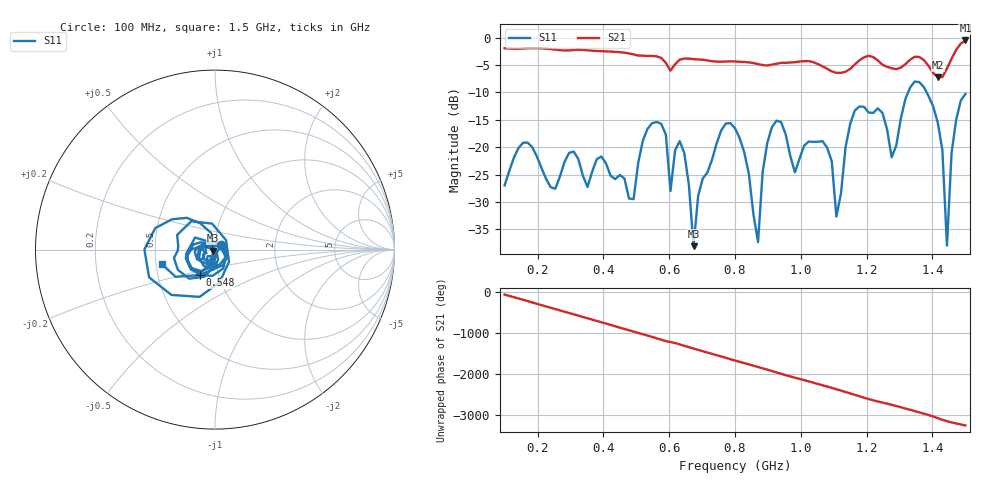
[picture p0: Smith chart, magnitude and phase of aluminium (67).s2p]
! NanoVNA-App
! Date: 2025-09-26 09:58:35
! Start: 100MHz Stop: 1,5GHz Points: 101
! S-Parameter data: F S11 S21 S12 S22
# Hz S RI R 50
!  Frequency  S11_Real  S11_Imag  S21_Real  S21_Imag  S12_Real  S12_Imag  S22_Real  S22_Imag
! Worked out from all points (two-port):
!   101 points, 100 MHz to 1.5 GHz, reference 50 ohm
!   highest |S21| = -0.49 dB at 1.5 GHz (marker M1); lowest = -7.2 dB at 1.416 GHz (marker M2)
!   |S21| within 3 dB of the highest: start of sweep to 566.6 MHz; 1.461 GHz to end of sweep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
!   lowest |S11| = -38.1 dB at 674 MHz (marker M3), VSWR 1.03, Z = 48.9 - j0.548 ohm
!   |S11| at or under -10 dB: start of sweep to 1.326 GHz; 1.382 GHz to end of sweep
!   S12 and S22 are empty: the file has one direction only
!   S11 on the Smith chart (normalised r, x): 100 MHz: 1.07, +0.06; 548 MHz: 0.81, -0.24; 1.5 GHz: 0.54, -0.10
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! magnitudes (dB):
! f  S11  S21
! 100 MHz  -27.0  -1.9
! 156 MHz  -19.2  -2.0
! 338 MHz  -25.3  -2.2
! 492 MHz  -29.5  -3.0
! 548 MHz  -15.6  -3.3
! 576 MHz  -15.7  -3.7
! 604 MHz  -28.0  -6.0
! 646 MHz  -21.1  -3.8
! 674 MHz  -38.1  -3.9
! 702 MHz  -25.7  -4.0
! 800 MHz  -16.5  -4.3
! 870 MHz  -37.4  -4.8
! 912 MHz  -16.4  -4.9
! 1.038 GHz  -19.0  -4.5
! 1.108 GHz  -32.7  -6.4
! 1.164 GHz  -13.3  -4.9
! 1.276 GHz  -21.8  -5.6
! 1.346 GHz  -8.0  -3.5
! 1.416 GHz  -15.5  -7.2
! 1.444 GHz  -38.0  -5.6
! 1.458 GHz  -21.1  -3.8
! 1.5 GHz  -10.3  -0.5
